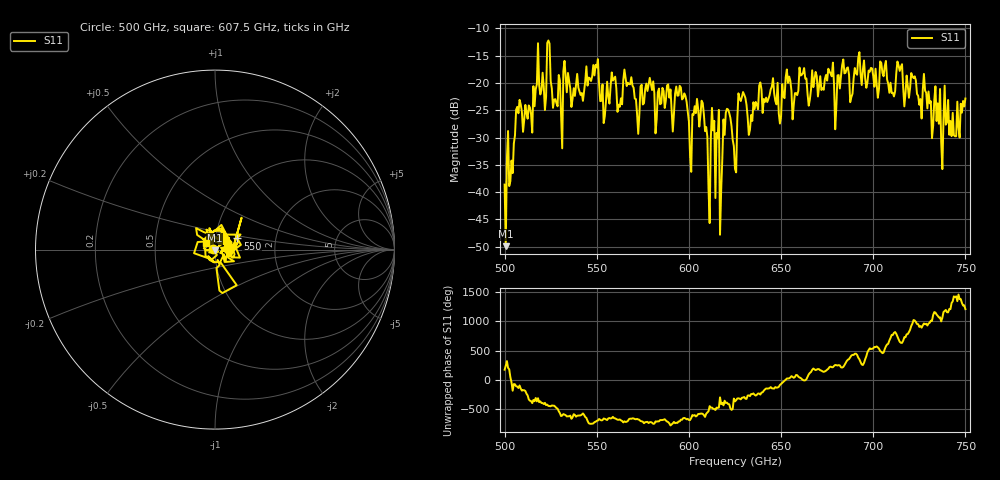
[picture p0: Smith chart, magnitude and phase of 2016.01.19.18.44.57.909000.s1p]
!Created with skrf (http://scikit-rf.org).
# GHz S RI R 50.0
!freq ReS11 ImS11
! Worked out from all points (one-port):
!   401 points, 500 GHz to 750 GHz, reference 50 ohm
!   lowest |S11| = -49.9 dB at 500.6 GHz (marker M1), VSWR 1.01, Z = 49.9 - j0.282 ohm
!   |S11| at or under -10 dB: start of sweep to end of sweep
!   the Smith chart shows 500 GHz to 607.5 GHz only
!   S11 on the Smith chart (normalised r, x): 500 GHz: 0.98, +0.00; 550 GHz: 1.27, +0.16; 607.5 GHz: 0.90, +0.07
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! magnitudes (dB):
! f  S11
! 500 GHz  -38.6
! 500.6 GHz  -49.9
! 507.5 GHz  -25.6
! 513.8 GHz  -24.5
! 523.8 GHz  -12.2
! 527.5 GHz  -23.0
! 531.2 GHz  -32.0
! 550 GHz  -17.1
! 553.1 GHz  -20.3
! 558.8 GHz  -19.6
! 562.5 GHz  -24.4
! 565.6 GHz  -19.0
! 571.9 GHz  -25.7
! 593.8 GHz  -22.3
! 600.6 GHz  -33.3
! 607.5 GHz  -23.7
! 610.6 GHz  -39.3
! 613.8 GHz  -26.9
! 618.1 GHz  -33.8
! 621.2 GHz  -24.9
! 625 GHz  -35.8
! 628.1 GHz  -23.3
! 633.1 GHz  -28.6
! 656.2 GHz  -26.7
! 687.5 GHz  -23.5
! 718.8 GHz  -20.5
! 736.9 GHz  -30.9
! 750 GHz  -22.8
